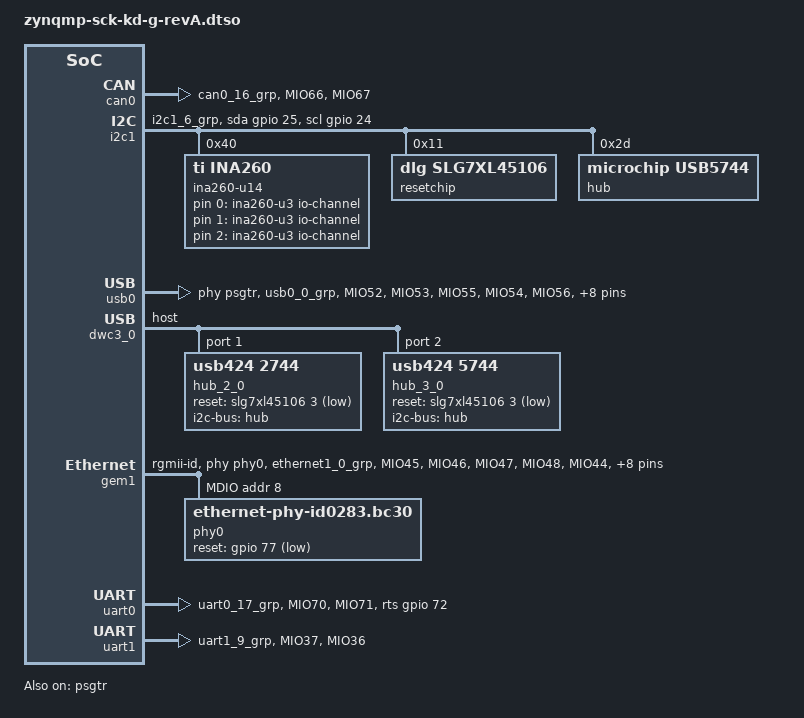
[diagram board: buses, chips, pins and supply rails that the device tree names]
// SPDX-License-Identifier: GPL-2.0
/*
 * dts file for KD240 revA Carrier Card
 *
 * Copyright (C) 2021 - 2022, Xilinx, Inc.
 * Copyright (C) 2022 - 2023, Advanced Micro Devices, Inc.
 *
 * Michal Simek <michal.simek@amd.com>
 */

#include <dt-bindings/gpio/gpio.h>
#include <dt-bindings/phy/phy.h>
#include <dt-bindings/pinctrl/pinctrl-zynqmp.h>

/dts-v1/;
/plugin/;

&{/} {
	compatible = "xlnx,zynqmp-sk-kd240-rev1",
		     "xlnx,zynqmp-sk-kd240-revB",
		     "xlnx,zynqmp-sk-kd240-revA",
		     "xlnx,zynqmp-sk-kd240", "xlnx,zynqmp";
	model = "ZynqMP KD240 revA/B/1";

	aliases {
		ethernet0 = "/axi/ethernet@ff0c0000"; /* &gem1 */
	};

	ina260-u3 {
		compatible = "iio-hwmon";
		io-channels = <&u3 0>, <&u3 1>, <&u3 2>;
	};

	clk_26: clock2 { /* u17 - USB */
		compatible = "fixed-clock";
		#clock-cells = <0>;
		clock-frequency = <26000000>;
	};

	clk_25_0: clock4 { /* u92/u91 - GEM2 */
		compatible = "fixed-clock";
		#clock-cells = <0>;
		clock-frequency = <25000000>;
	};

	clk_25_1: clock5 { /* u92/u91 - GEM3 */
		compatible = "fixed-clock";
		#clock-cells = <0>;
		clock-frequency = <25000000>;
	};
};

&can0 {
	status = "okay";
	pinctrl-names = "default";
	pinctrl-0 = <&pinctrl_can0_default>;
};

&i2c1 { /* I2C_SCK C26/C27 - MIO from SOM */
	#address-cells = <1>;
	#size-cells = <0>;
	pinctrl-names = "default", "gpio";
	pinctrl-0 = <&pinctrl_i2c1_default>;
	pinctrl-1 = <&pinctrl_i2c1_gpio>;
	scl-gpios = <&gpio 24 (GPIO_ACTIVE_HIGH | GPIO_OPEN_DRAIN)>;
	sda-gpios = <&gpio 25 (GPIO_ACTIVE_HIGH | GPIO_OPEN_DRAIN)>;

	u3: ina260@40 { /* u3 */
		compatible = "ti,ina260";
		#io-channel-cells = <1>;
		label = "ina260-u14";
		reg = <0x40>;
	};

	slg7xl45106: gpio@11 { /* u13 - reset logic */
		compatible = "dlg,slg7xl45106";
		reg = <0x11>;
		label = "resetchip";
		gpio-controller;
		#gpio-cells = <2>;
		gpio-line-names = "USB0_PHY_RESET_B", "",
				  "SD_RESET_B", "USB0_HUB_RESET_B",
				  "", "PS_GEM0_RESET_B",
				  "", "";
	};

	hub: usb-hub@2d { /* u36 */
		compatible = "microchip,usb5744";
		reg = <0x2d>;
	};
};

/* USB 3.0 */
&psgtr {
	status = "okay";
	/* usb */
	clocks = <&clk_26>;
	clock-names = "ref2";
};

&usb0 { /* mio52 - mio63 */
	status = "okay";
	pinctrl-names = "default";
	pinctrl-0 = <&pinctrl_usb0_default>;
	phy-names = "usb3-phy";
	phys = <&psgtr 2 PHY_TYPE_USB3 0 2>;
	reset-gpios = <&slg7xl45106 0 GPIO_ACTIVE_LOW>;
	assigned-clock-rates = <250000000>, <20000000>;
};

&dwc3_0 {
	status = "okay";
	dr_mode = "host";
	snps,usb3_lpm_capable;
	maximum-speed = "super-speed";
	#address-cells = <1>;
	#size-cells = <0>;

	/* 2.0 hub on port 1 */
	hub_2_0: hub@1 {
		compatible = "usb424,2744";
		reg = <1>;
		peer-hub = <&hub_3_0>;
		i2c-bus = <&hub>;
		reset-gpios = <&slg7xl45106 3 GPIO_ACTIVE_LOW>;
	};

	/* 3.0 hub on port 2 */
	hub_3_0: hub@2 {
		compatible = "usb424,5744";
		reg = <2>;
		peer-hub = <&hub_2_0>;
		i2c-bus = <&hub>;
		reset-gpios = <&slg7xl45106 3 GPIO_ACTIVE_LOW>;
	};
};

&gem1 { /* mdio mio50/51 */
	status = "okay";
	pinctrl-names = "default";
	pinctrl-0 = <&pinctrl_gem1_default>;
	assigned-clock-rates = <250000000>;

	phy-handle = <&phy0>;
	phy-mode = "rgmii-id";
	mdio: mdio {
		#address-cells = <1>;
		#size-cells = <0>;
		phy0: ethernet-phy@8 { /* Adin u31 */
			#phy-cells = <1>;
			compatible = "ethernet-phy-id0283.bc30";
			reg = <8>;
			adi,rx-internal-delay-ps = <2000>;
			adi,tx-internal-delay-ps = <2000>;
			adi,fifo-depth-bits = <8>;
			reset-assert-us = <10>;
			reset-deassert-us = <5000>;
			reset-gpios = <&gpio 77 GPIO_ACTIVE_LOW>;
		};
	};
};

/* 2 more ethernet phys u32@2 and u34@3 */

&pinctrl0 { /* required by spec */
	status = "okay";

	pinctrl_can0_default: can0-default {
		mux {
			function = "can0";
			groups = "can0_16_grp";
		};

		conf {
			groups = "can0_16_grp";
			slew-rate = <SLEW_RATE_SLOW>;
			power-source = <IO_STANDARD_LVCMOS18>;
		};

		conf-rx {
			pins = "MIO66";
			bias-pull-up;
		};

		conf-tx {
			pins = "MIO67";
			bias-pull-up;
			drive-strength = <4>;
		};
	};

	pinctrl_uart0_default: uart0-default {
		conf {
			groups = "uart0_17_grp";
			slew-rate = <SLEW_RATE_SLOW>;
			power-source = <IO_STANDARD_LVCMOS18>;
			drive-strength = <12>;
		};

		conf-rx {
			pins = "MIO70";
			bias-high-impedance;
		};

		conf-tx {
			pins = "MIO71";
			bias-disable;
		};

		mux {
			groups = "uart0_17_grp";
			function = "uart0";
		};
	};

	pinctrl_uart1_default: uart1-default {
		conf {
			groups = "uart1_9_grp";
			slew-rate = <SLEW_RATE_SLOW>;
			power-source = <IO_STANDARD_LVCMOS18>;
			drive-strength = <12>;
		};

		conf-rx {
			pins = "MIO37";
			bias-high-impedance;
		};

		conf-tx {
			pins = "MIO36";
			bias-disable;
			output-enable;
		};

		mux {
			groups = "uart1_9_grp";
			function = "uart1";
		};
	};

	pinctrl_i2c1_default: i2c1-default {
		conf {
			groups = "i2c1_6_grp";
			bias-pull-up;
			slew-rate = <SLEW_RATE_SLOW>;
			power-source = <IO_STANDARD_LVCMOS18>;
		};

		mux {
			groups = "i2c1_6_grp";
			function = "i2c1";
		};
	};

	pinctrl_i2c1_gpio: i2c1-gpio-grp {
		conf {
			groups = "gpio0_24_grp", "gpio0_25_grp";
			slew-rate = <SLEW_RATE_SLOW>;
			power-source = <IO_STANDARD_LVCMOS18>;
		};

		mux {
			groups = "gpio0_24_grp", "gpio0_25_grp";
			function = "gpio0";
		};
	};

	pinctrl_gem1_default: gem1-default {
		conf {
			groups = "ethernet1_0_grp";
			slew-rate = <SLEW_RATE_SLOW>;
			power-source = <IO_STANDARD_LVCMOS18>;
		};

		conf-rx {
			pins = "MIO45", "MIO46", "MIO47", "MIO48";
			bias-disable;
			low-power-disable;
		};

		conf-bootstrap {
			pins = "MIO44", "MIO49";
			bias-disable;
			output-enable;
			low-power-disable;
		};

		conf-tx {
			pins = "MIO38", "MIO39", "MIO40",
				"MIO41", "MIO42", "MIO43";
			bias-disable;
			output-enable;
			low-power-enable;
		};

		conf-mdio {
			groups = "mdio1_0_grp";
			slew-rate = <SLEW_RATE_SLOW>;
			power-source = <IO_STANDARD_LVCMOS18>;
			bias-disable;
			output-enable;
		};

		mux-mdio {
			function = "mdio1";
			groups = "mdio1_0_grp";
		};

		mux {
			function = "ethernet1";
			groups = "ethernet1_0_grp";
		};
	};

	pinctrl_usb0_default: usb0-default {
		conf {
			groups = "usb0_0_grp";
			power-source = <IO_STANDARD_LVCMOS18>;
		};

		conf-rx {
			pins = "MIO52", "MIO53", "MIO55";
			bias-high-impedance;
			drive-strength = <12>;
			slew-rate = <SLEW_RATE_FAST>;
		};

		conf-tx {
			pins = "MIO54", "MIO56", "MIO57", "MIO58", "MIO59",
			"MIO60", "MIO61", "MIO62", "MIO63";
			bias-disable;
			output-enable;
			drive-strength = <4>;
			slew-rate = <SLEW_RATE_SLOW>;
		};

		mux {
			groups = "usb0_0_grp";
			function = "usb0";
		};
	};

	pinctrl_usb1_default: usb1-default {
		conf {
			groups = "usb1_0_grp";
			power-source = <IO_STANDARD_LVCMOS18>;
		};

		conf-rx {
			pins = "MIO64", "MIO65", "MIO67";
			bias-high-impedance;
			drive-strength = <12>;
			slew-rate = <SLEW_RATE_FAST>;
		};

		conf-tx {
			pins = "MIO66", "MIO68", "MIO69", "MIO70", "MIO71",
			"MIO72", "MIO73", "MIO74", "MIO75";
			bias-disable;
			output-enable;
			drive-strength = <4>;
			slew-rate = <SLEW_RATE_SLOW>;
		};

		mux {
			groups = "usb1_0_grp";
			function = "usb1";
		};
	};
};

&uart0 {
	status = "okay";
	rts-gpios = <&gpio 72 GPIO_ACTIVE_HIGH>;
	linux,rs485-enabled-at-boot-time;
	rs485-rts-delay = <10 10>;
	pinctrl-names = "default";
	pinctrl-0 = <&pinctrl_uart0_default>;
	assigned-clock-rates = <100000000>;
};

&uart1 {
	status = "okay";
	pinctrl-names = "default";
	pinctrl-0 = <&pinctrl_uart1_default>;
};

&zynqmp_dpsub {
	status = "disabled";
};
